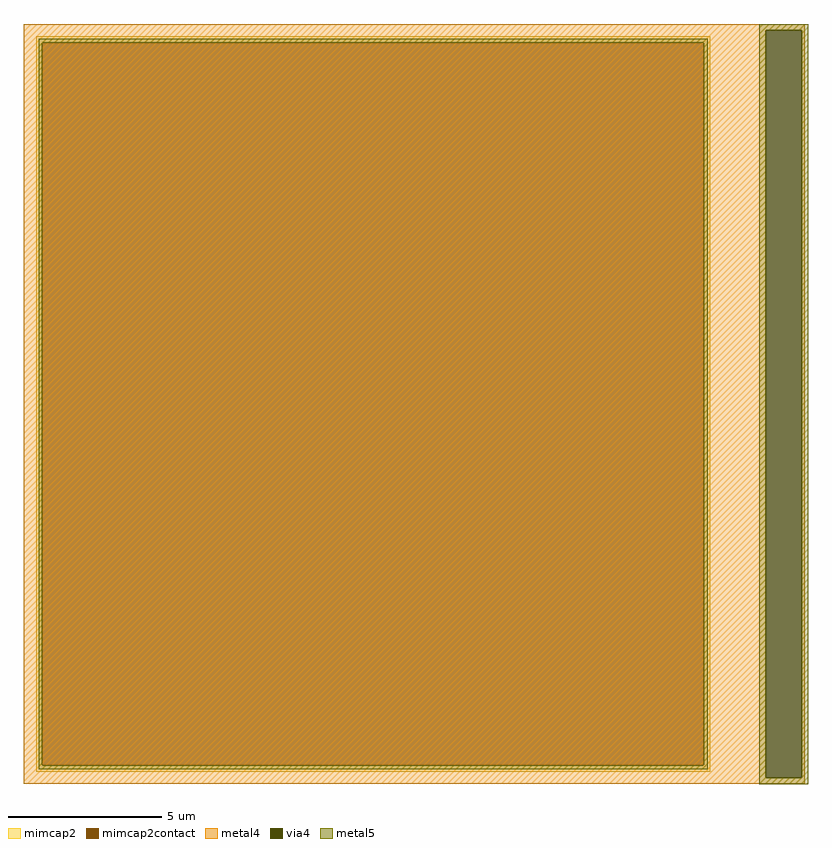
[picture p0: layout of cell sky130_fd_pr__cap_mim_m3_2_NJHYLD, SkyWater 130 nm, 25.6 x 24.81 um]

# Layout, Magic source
magic
tech sky130A
magscale 1 2
<< metal4 >>
rect -2549 2439 2549 2480
rect -2549 -2439 2293 2439
rect 2529 -2439 2549 2439
rect -2549 -2480 2549 -2439
<< via4 >>
rect 2293 -2439 2529 2439
<< mimcap2 >>
rect -2469 2360 1931 2400
rect -2469 -2360 -2429 2360
rect 1891 -2360 1931 2360
rect -2469 -2400 1931 -2360
<< mimcap2contact >>
rect -2429 -2360 1891 2360
<< metal5 >>
rect 2251 2439 2571 2481
rect -2453 2360 1915 2384
rect -2453 -2360 -2429 2360
rect 1891 -2360 1915 2360
rect -2453 -2384 1915 -2360
rect 2251 -2439 2293 2439
rect 2529 -2439 2571 2439
rect 2251 -2481 2571 -2439
<< properties >>
string FIXED_BBOX -2549 -2480 2011 2480
string gencell sky130_fd_pr__cap_mim_m3_2
string library sky130
string parameters w 22 l 24 val 1.073k carea 2.00 cperi 0.19 nx 1 ny 1 dummy 0 square 0 lmin 2.00 wmin 2.00 lmax 30.0 wmax 30.0 dc 0 bconnect 1 tconnect 1 ccov 100
<< end >>
